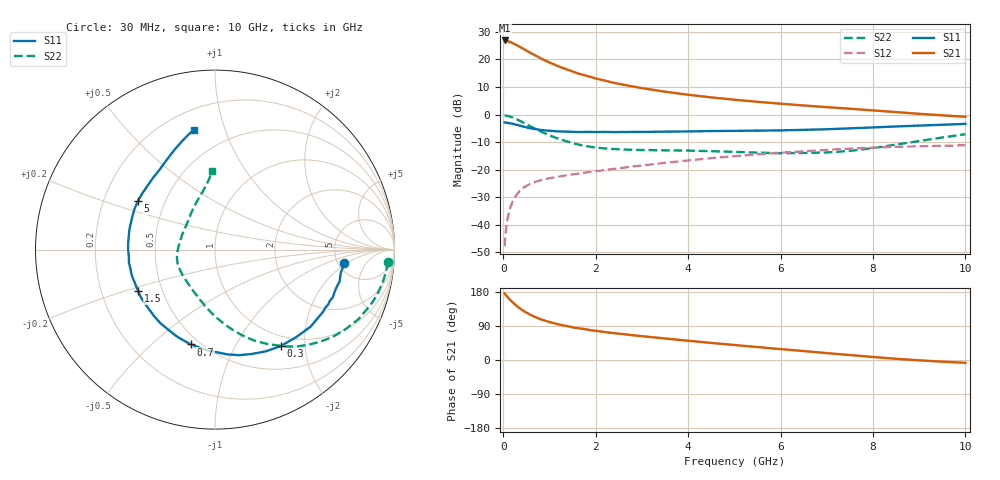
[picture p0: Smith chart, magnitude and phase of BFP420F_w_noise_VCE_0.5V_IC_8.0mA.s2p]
! Infineon Technologies  Discrete & RF Semiconductors
! BFP420F
! VCE =  0.5 V,  IC =  8.0 mA
! Common Emitter S-Parameters:  Sep 2011
# GHz  S  MA  R  50
!  f  S11  S21  S12  S22
! GHz  MAG  ANG  MAG  ANG  MAG  ANG  MAG  ANG
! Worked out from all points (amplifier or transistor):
!   54 points, 30 MHz to 10 GHz, reference 50 ohm
!   highest |S21| = 26.9 dB at 40 MHz (marker M1)
!   |S21| within 3 dB of that: start of sweep to 432.9 MHz
!   unconditionally stable (mu >= 1): 2.117 GHz to end of sweep
!   at 120 MHz: K = 0.14, MSG = 31.2 dB, |S12| = -35.8 dB
!   at 1.3 GHz: K = 0.73, MSG = 19.5 dB, |S12| = -22.2 dB
!   at 10 GHz: K = 1.27, MAG = 2.0 dB, |S12| = -11.1 dB
!   lowest NFmin = 1.08 dB at 450 MHz
!   S11 on the Smith chart (normalised r, x): 30 MHz: 5.63, -1.82; 300 MHz: 0.84, -1.56; 700 MHz: 0.45, -0.67; 1.5 GHz: 0.36, -0.22; 5 GHz: 0.35, +0.25; 10 GHz: 0.32, +0.79
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0.03  0.7235 -6.1  22.12 175.2  0.0041 88.1  0.9638 -4.1
0.04  0.7197 -7.9  22.14 173.6  0.0055 87.8  0.963 -5.4
0.1  0.7068 -20.3  21.6 165.2  0.0138 81.0  0.944 -13.4
0.15  0.6949 -29.7  20.71 158.6  0.0201 76.4  0.9179 -19.9
0.25  0.6649 -47.3  18.92 147.0  0.0311 68.7  0.8521 -31.3
0.3  0.6504 -55.7  18.11 141.9  0.0365 65.4  0.8164 -36.6
0.4  0.6169 -70.4  16.22 132.8  0.0444 59.7  0.7414 -45.7
0.5  0.5879 -83.3  14.55 125.2  0.0509 55.3  0.67 -53.7
0.6  0.5626 -94.5  13.02 118.6  0.056 51.7  0.6043 -60.7
0.7  0.5455 -104.4  11.78 113.0  0.0604 49.2  0.55 -66.9
0.8  0.5299 -113.1  10.64 108.0  0.0639 47.3  0.5004 -72.5
1  0.5101 -127.0  8.843 100.4  0.07 44.9  0.4218 -82.4
1.2  0.4951 -138.4  7.477 93.9  0.075 43.5  0.3645 -91.3
1.5  0.4864 -151.6  6.065 86.3  0.0822 42.8  0.3044 -103.1
1.7  0.4835 -158.2  5.344 82.6  0.0867 42.6  0.2772 -110.7
2.4  0.4813 -175.5  3.763 70.8  0.1038 42.5  0.237 -132.5
3.5  0.4901 166.3  2.603 56.8  0.1331 41.3  0.2247 -153.2
5  0.5074 147.9  1.863 39.6  0.1759 35.6  0.2108 -175.7
5.5  0.5117 142.5  1.707 34.1  0.1896 33.1  0.2044 175.7
7  0.5423 124.5  1.365 18.2  0.2289 24.4  0.2057 144.0
8.5  0.6094 110.5  1.11 3.2  0.2602 14.1  0.2854 110.9
10  0.6791 99.9  0.913 -7.5  0.2775 6.0  0.4401 91.9
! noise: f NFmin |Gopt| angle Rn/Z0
0.45  1.08  0.09  22  0.18
0.9  1.1  0.1  56  0.15
1.9  1.26  0.14  138  0.2
2.4  1.33  0.15  140  0.13
3.5  1.6  0.2  167  0.13
